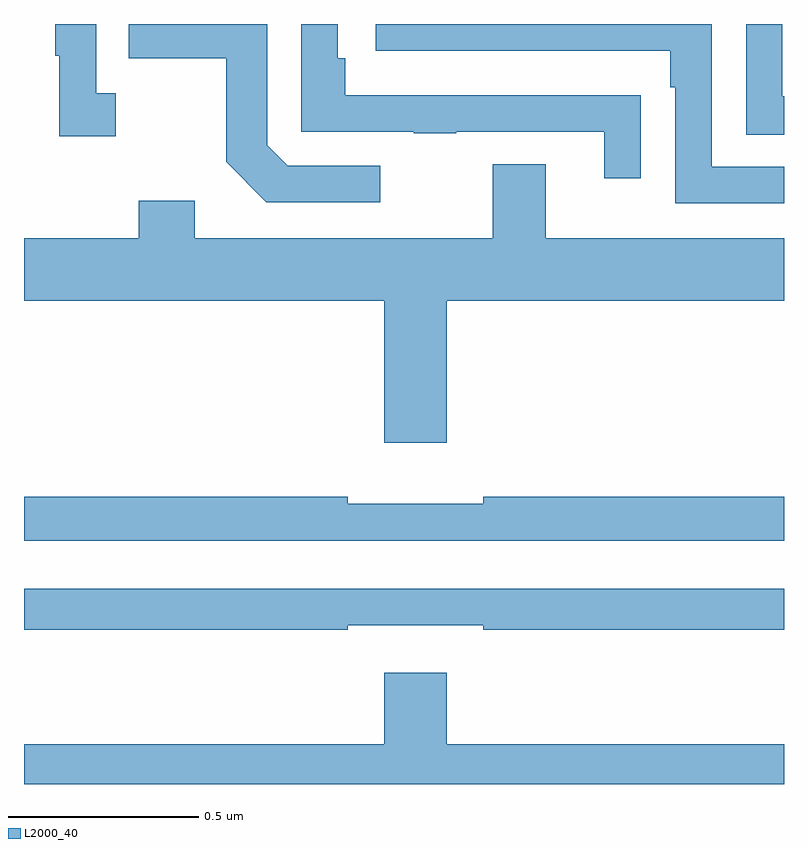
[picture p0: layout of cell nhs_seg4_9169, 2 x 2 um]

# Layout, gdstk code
import gdstk
lib = gdstk.Library(unit=1e-6, precision=1e-09)
def P(c, l, *ps):  # polygons
    for p in ps: c.add(gdstk.Polygon(p, *l))
L2000_40 = (2000, 40)

nhs_seg4_9169 = lib.new_cell('nhs_seg4_9169')
P(nhs_seg4_9169, L2000_40, [(224.938,778.527),(224.694,778.527),(224.64,778.581),(224.64,778.9),(224.275,778.9),(224.275,778.81),(224.532,778.81),(224.532,778.537),(224.637,778.431),(224.938,778.431)],
  [(225.623,778.712),(225.521,778.712),(225.521,778.713),(224.846,778.713),(224.846,778.81),(224.826,778.81),(224.826,778.9),(224.73,778.9),(224.73,778.617),(225.025,778.617),(225.025,778.612),(225.137,778.612),(225.137,778.617),(225.527,778.617),(225.527,778.494),(225.623,778.494)],
  [(226,778.524),(225.81,778.524),(225.81,778.9),(224.925,778.9),(224.925,778.83),(225.701,778.83),(225.701,778.733),(225.714,778.733),(225.714,778.428),(226,778.428)],
  [(226,778.71),(225.996,778.71),(225.996,778.9),(225.9,778.9),(225.9,778.609),(226,778.609)],
  [(224.242,778.718),(224.19,778.718),(224.19,778.9),(224.082,778.9),(224.082,778.817),(224.093,778.817),(224.093,778.605),(224.242,778.605)],
  [(225.112,778.172),(226,778.172),(226,778.336),(225.373,778.336),(225.373,778.531),(225.233,778.531),(225.233,778.336),(224.449,778.336),(224.449,778.435),(224.302,778.435),(224.302,778.336),(224,778.336),(224,778.172),(224.948,778.172),(224.948,777.798),(225.112,777.798)],
  [(226,777.656),(225.208,777.656),(225.208,777.637),(224.852,777.637),(224.852,777.656),(224,777.656),(224,777.54),(226,777.54)],
  [(224.852,777.318),(225.208,777.318),(225.208,777.306),(226,777.306),(226,777.414),(224,777.414),(224,777.306),(224.852,777.306)],
  [(226,777.004),(225.112,777.004),(225.112,777.193),(224.948,777.193),(224.948,777.004),(224,777.004),(224,776.9),(226,776.9)])

lib.write_gds('nhs_seg4_9169.gds')
